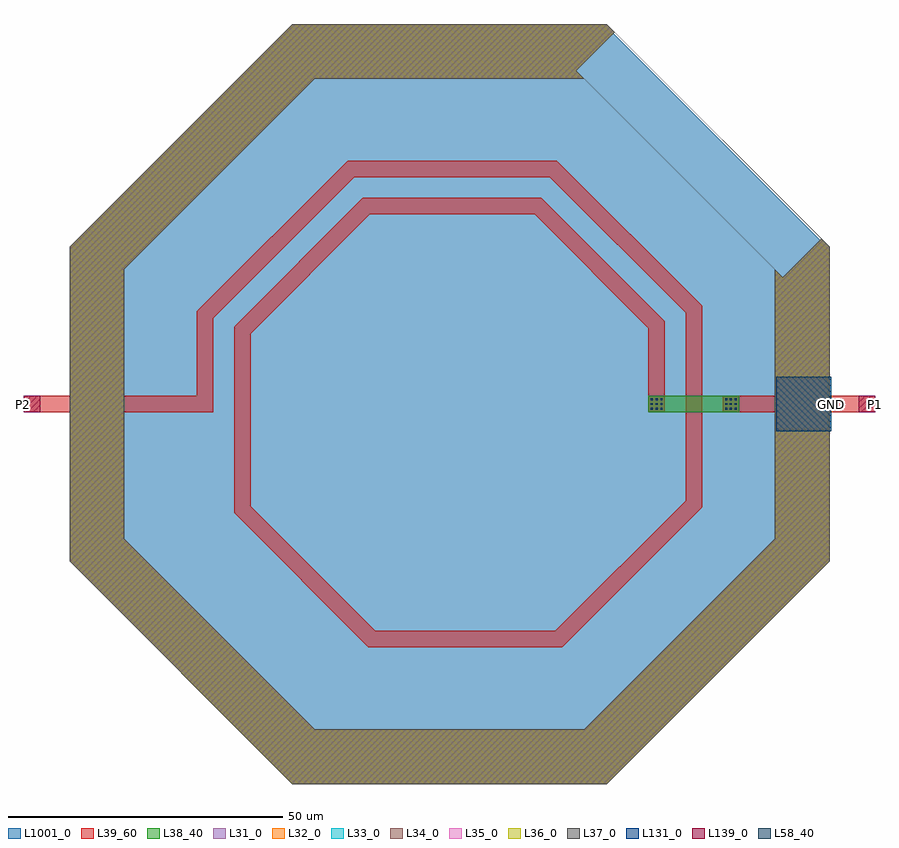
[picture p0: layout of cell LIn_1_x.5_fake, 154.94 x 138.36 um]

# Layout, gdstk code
import gdstk
lib = gdstk.Library(unit=1e-6, precision=1e-09)
def R(c, l, rs):  # rectangles x0, y0, x1, y1
    for r in rs: c.add(gdstk.rectangle(r[:2], r[2:], *l))
def A(c, l, x, y, w, h, nx, ny, dx, dy):  # array of equal rectangles
    R(c, l, [(x+i*dx, y+j*dy, x+i*dx+w, y+j*dy+h) for i in range(nx) for j in range(ny)])
def P(c, l, *ps):  # polygons
    for p in ps: c.add(gdstk.Polygon(p, *l))
L31_0 = (31, 0)
L32_0 = (32, 0)
L33_0 = (33, 0)
L34_0 = (34, 0)
L35_0 = (35, 0)
L36_0 = (36, 0)
L37_0 = (37, 0)
L38_40 = (38, 40)
L39_60 = (39, 60)
L58_40 = (58, 40)
L131_0 = (131, 0)
L139_0 = (139, 0)
L1001_0 = (1001, 0)

lin_1_x_5_fake = lib.new_cell('LIn_1_x.5_fake')
P(lin_1_x_5_fake, L31_0, [(60.645,23.049),(67.716,30.12),(28.656,69.181),(-28.656,69.181),(-69.181,28.656),(-69.181,-28.656),(-28.656,-69.181),(28.656,-69.181),(69.181,-28.656),(69.181,28.656),(30.12,67.716),(23.049,60.645),(59.181,24.513),(59.181,-24.513),(24.513,-59.181),(-24.513,-59.181),(-59.181,-24.513),(-59.181,24.513),(-24.513,59.181),(24.513,59.181)])
P(lin_1_x_5_fake, L32_0, [(60.645,23.049),(67.716,30.12),(28.656,69.181),(-28.656,69.181),(-69.181,28.656),(-69.181,-28.656),(-28.656,-69.181),(28.656,-69.181),(69.181,-28.656),(69.181,28.656),(30.12,67.716),(23.049,60.645),(59.181,24.513),(59.181,-24.513),(24.513,-59.181),(-24.513,-59.181),(-59.181,-24.513),(-59.181,24.513),(-24.513,59.181),(24.513,59.181)])
P(lin_1_x_5_fake, L33_0, [(60.645,23.049),(67.716,30.12),(28.656,69.181),(-28.656,69.181),(-69.181,28.656),(-69.181,-28.656),(-28.656,-69.181),(28.656,-69.181),(69.181,-28.656),(69.181,28.656),(30.12,67.716),(23.049,60.645),(59.181,24.513),(59.181,-24.513),(24.513,-59.181),(-24.513,-59.181),(-59.181,-24.513),(-59.181,24.513),(-24.513,59.181),(24.513,59.181)])
P(lin_1_x_5_fake, L34_0, [(60.645,23.049),(67.716,30.12),(28.656,69.181),(-28.656,69.181),(-69.181,28.656),(-69.181,-28.656),(-28.656,-69.181),(28.656,-69.181),(69.181,-28.656),(69.181,28.656),(30.12,67.716),(23.049,60.645),(59.181,24.513),(59.181,-24.513),(24.513,-59.181),(-24.513,-59.181),(-59.181,-24.513),(-59.181,24.513),(-24.513,59.181),(24.513,59.181)])
P(lin_1_x_5_fake, L35_0, [(60.645,23.049),(67.716,30.12),(28.656,69.181),(-28.656,69.181),(-69.181,28.656),(-69.181,-28.656),(-28.656,-69.181),(28.656,-69.181),(69.181,-28.656),(69.181,28.656),(30.12,67.716),(23.049,60.645),(59.181,24.513),(59.181,-24.513),(24.513,-59.181),(-24.513,-59.181),(-59.181,-24.513),(-59.181,24.513),(-24.513,59.181),(24.513,59.181)])
P(lin_1_x_5_fake, L36_0, [(60.645,23.049),(67.716,30.12),(28.656,69.181),(-28.656,69.181),(-69.181,28.656),(-69.181,-28.656),(-28.656,-69.181),(28.656,-69.181),(69.181,-28.656),(69.181,28.656),(30.12,67.716),(23.049,60.645),(59.181,24.513),(59.181,-24.513),(24.513,-59.181),(-24.513,-59.181),(-59.181,-24.513),(-59.181,24.513),(-24.513,59.181),(24.513,59.181)])
P(lin_1_x_5_fake, L37_0, [(60.645,23.049),(67.716,30.12),(28.656,69.181),(-28.656,69.181),(-69.181,28.656),(-69.181,-28.656),(-28.656,-69.181),(28.656,-69.181),(69.181,-28.656),(69.181,28.656),(30.12,67.716),(23.049,60.645),(59.181,24.513),(59.181,-24.513),(24.513,-59.181),(-24.513,-59.181),(-59.181,-24.513),(-59.181,24.513),(-24.513,59.181),(24.513,59.181)])
R(lin_1_x_5_fake, L38_40, [(36.22,-1.5,52.72,1.5)])
P(lin_1_x_5_fake, L38_40, [(60.645,23.049),(67.716,30.12),(28.656,69.181),(-28.656,69.181),(-69.181,28.656),(-69.181,-28.656),(-28.656,-69.181),(28.656,-69.181),(69.181,-28.656),(69.181,28.656),(30.12,67.716),(23.049,60.645),(59.181,24.513),(59.181,-24.513),(24.513,-59.181),(-24.513,-59.181),(-59.181,-24.513),(-59.181,24.513),(-24.513,59.181),(24.513,59.181)])
R(lin_1_x_5_fake, L39_60, [(-77.47,-1.5,-42.97,1.5), (49.72,-1.5,77.47,1.5)])
P(lin_1_x_5_fake, L39_60, [(36.22,-1.5),(39.22,-1.5),(39.22,15.051),(16.741,37.53),(-15.751,37.53),(-39.22,14.061),(-39.22,-19.826),(-14.761,-44.28),(20.521,-44.28),(45.97,-18.836),(45.97,17.846),(19.536,44.28),(-18.546,44.28),(-45.97,16.861),(-45.97,0),(-42.97,0),(-42.97,15.619),(-17.304,41.28),(18.294,41.28),(42.97,16.604),(42.97,-17.594),(19.279,-41.28),(-13.519,-41.28),(-36.22,-18.584),(-36.22,12.819),(-14.509,34.53),(15.499,34.53),(36.22,13.809)],
  [(60.645,23.049),(67.716,30.12),(28.656,69.181),(-28.656,69.181),(-69.181,28.656),(-69.181,-28.656),(-28.656,-69.181),(28.656,-69.181),(69.181,-28.656),(69.181,28.656),(30.12,67.716),(23.049,60.645),(59.181,24.513),(59.181,-24.513),(24.513,-59.181),(-24.513,-59.181),(-59.181,-24.513),(-59.181,24.513),(-24.513,59.181),(24.513,59.181)])
A(lin_1_x_5_fake, L58_40, 36.674, -1.045, 0.35, 0.35, 3, 3, 0.87, 0.87)
A(lin_1_x_5_fake, L58_40, 50.174, -1.045, 0.35, 0.35, 3, 3, 0.87, 0.87)
R(lin_1_x_5_fake, L131_0, [(59.47,-5,69.47,5)])
R(lin_1_x_5_fake, L139_0, [(-77.47,-1.5,-74.47,1.5), (74.47,-1.5,77.47,1.5)])
P(lin_1_x_5_fake, L1001_0, [(68.8,28.498),(28.498,68.8),(-28.498,68.8),(-68.8,28.498),(-68.8,-28.498),(-28.498,-68.8),(28.498,-68.8),(68.8,-28.498)],
  [(68.8,28.498),(28.498,68.8),(-28.498,68.8),(-68.8,28.498),(-68.8,-28.498),(-28.498,-68.8),(28.498,-68.8),(68.8,-28.498)],
  [(68.8,28.498),(28.498,68.8),(-28.498,68.8),(-68.8,28.498),(-68.8,-28.498),(-28.498,-68.8),(28.498,-68.8),(68.8,-28.498)],
  [(68.8,28.498),(28.498,68.8),(-28.498,68.8),(-68.8,28.498),(-68.8,-28.498),(-28.498,-68.8),(28.498,-68.8),(68.8,-28.498)],
  [(68.8,28.498),(28.498,68.8),(-28.498,68.8),(-68.8,28.498),(-68.8,-28.498),(-28.498,-68.8),(28.498,-68.8),(68.8,-28.498)],
  [(68.8,28.498),(28.498,68.8),(-28.498,68.8),(-68.8,28.498),(-68.8,-28.498),(-28.498,-68.8),(28.498,-68.8),(68.8,-28.498)],
  [(68.8,28.498),(28.498,68.8),(-28.498,68.8),(-68.8,28.498),(-68.8,-28.498),(-28.498,-68.8),(28.498,-68.8),(68.8,-28.498)],
  [(68.8,28.498),(28.498,68.8),(-28.498,68.8),(-68.8,28.498),(-68.8,-28.498),(-28.498,-68.8),(28.498,-68.8),(68.8,-28.498)],
  [(68.8,28.498),(28.498,68.8),(-28.498,68.8),(-68.8,28.498),(-68.8,-28.498),(-28.498,-68.8),(28.498,-68.8),(68.8,-28.498)])
lin_1_x_5_fake.add(gdstk.Label('P1', (77.469,0), layer=139, texttype=0))
lin_1_x_5_fake.add(gdstk.Label('P2', (-77.469,0), layer=139, texttype=0))
lin_1_x_5_fake.add(gdstk.Label('GND', (69.469,0), layer=131, texttype=0))

lib.write_gds('LIn_1_x.5_fake.gds')
